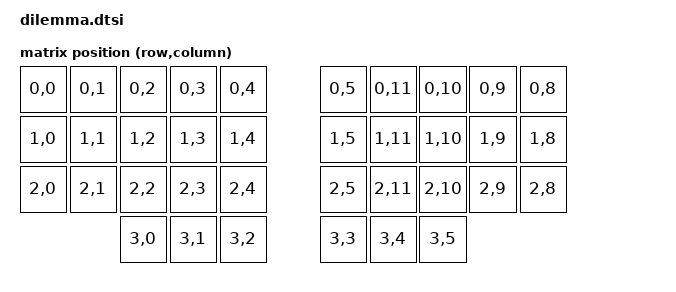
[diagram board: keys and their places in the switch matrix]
#include <dt-bindings/zmk/matrix_transform.h>
#include <zephyr/dt-bindings/pinctrl/rpi-pico-rp2040-pinctrl.h>
#include "dilemma-layouts.dtsi"

&pio0 {
    status = "okay";

    pio0_uart0: serial {
        status = "okay";
        compatible = "raspberrypi,pico-uart-pio";
        pinctrl-names = "default";
        current-speed = <115200>;
    };
};

/ {
    chosen {
        zmk,physical-layout = &dilemma_3x5_3_layout;
        zmk,split-uart = &pio0_uart0;
    };

    dilemma_3x5_3_transform: keymap_transform_0 {
        compatible = "zmk,matrix-transform";
        columns = <12>;
        rows = <5>;
        map = <
            RC(0, 0) RC(0, 1) RC(0, 2) RC(0, 3) RC(0, 4)    RC(0, 5) RC(0,11) RC(0,10) RC(0, 9) RC(0, 8)
            RC(1, 0) RC(1, 1) RC(1, 2) RC(1, 3) RC(1, 4)    RC(1, 5) RC(1,11) RC(1,10) RC(1, 9) RC(1, 8)
            RC(2, 0) RC(2, 1) RC(2, 2) RC(2, 3) RC(2, 4)    RC(2, 5) RC(2,11) RC(2,10) RC(2, 9) RC(2, 8)
                              RC(3, 0) RC(3, 1) RC(3, 2)    RC(3, 3) RC(3, 4) RC(3, 5)
        >;
    };

    kscan0: kscan {
        compatible = "zmk,kscan-gpio-matrix";
        diode-direction = "row2col";
		wakeup-source;
    };
};
